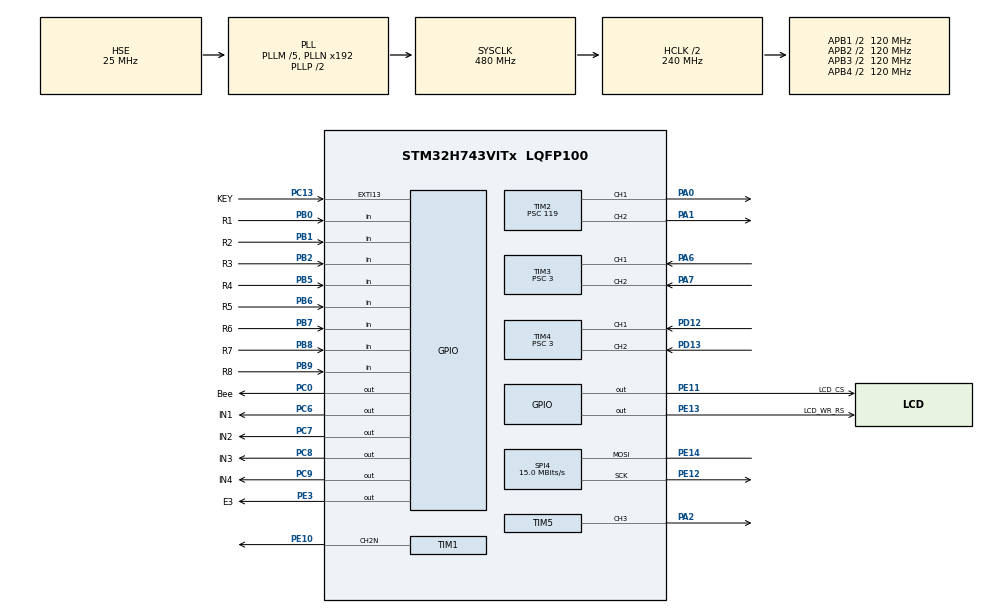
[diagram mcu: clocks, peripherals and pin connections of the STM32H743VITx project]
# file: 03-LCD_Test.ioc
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Mcu.Family=STM32H7
Mcu.Name=STM32H743VITx
Mcu.Package=LQFP100
NVIC.EXTI15_10_IRQn=true\:0\:0\:false\:false\:true\:true\:true
NVIC.PriorityGroup=NVIC_PRIORITYGROUP_4
NVIC.TIM6_DAC_IRQn=true\:1\:0\:true\:false\:true\:true\:true
NVIC.TIM7_IRQn=true\:2\:0\:true\:false\:true\:true\:true
PA0.Signal=S_TIM2_CH1
PA1.Signal=S_TIM2_CH2
PA13\ (JTMS/SWDIO).Mode=Serial_Wire
PA13\ (JTMS/SWDIO).Signal=DEBUG_JTMS-SWDIO
PA14\ (JTCK/SWCLK).Mode=Serial_Wire
PA14\ (JTCK/SWCLK).Signal=DEBUG_JTCK-SWCLK
PA2.Signal=S_TIM5_CH3
PA6.Signal=S_TIM3_CH1
PA7.Signal=S_TIM3_CH2
PB0.GPIO_Label=R1
PB0.Signal=GPIO_Input
PB1.GPIO_Label=R2
PB1.Signal=GPIO_Input
PB2.GPIO_Label=R3
PB2.Signal=GPIO_Input
PB5.GPIO_Label=R4
PB5.Signal=GPIO_Input
PB6.GPIO_Label=R5
PB6.Signal=GPIO_Input
PB7.GPIO_Label=R6
PB7.Signal=GPIO_Input
PB8.GPIO_Label=R7
PB8.Signal=GPIO_Input
PB9.GPIO_Label=R8
PB9.Signal=GPIO_Input
PC0.GPIO_Label=Bee
PC0.PinState=GPIO_PIN_SET
PC0.Signal=GPIO_Output
PC13.GPIO_Label=KEY
PC13.GPIO_ModeDefaultEXTI=GPIO_MODE_IT_FALLING
PC13.GPIO_PuPd=GPIO_NOPULL
PC13.Signal=GPXTI13
PC14-OSC32_IN\ (OSC32_IN).Mode=LSE-External-Oscillator
PC14-OSC32_IN\ (OSC32_IN).Signal=RCC_OSC32_IN
PC15-OSC32_OUT\ (OSC32_OUT).Mode=LSE-External-Oscillator
PC15-OSC32_OUT\ (OSC32_OUT).Signal=RCC_OSC32_OUT
PC6.GPIO_Label=IN1
PC6.Signal=GPIO_Output
PC7.GPIO_Label=IN2
PC7.Signal=GPIO_Output
PC8.GPIO_Label=IN3
PC8.Signal=GPIO_Output
PC9.GPIO_Label=IN4
PC9.Signal=GPIO_Output
PD12.Signal=S_TIM4_CH1
PD13.Signal=S_TIM4_CH2
PE10.Mode=PWM Generation2 CH2N
PE10.Signal=TIM1_CH2N
PE11.GPIO_Label=LCD_CS
PE11.GPIO_Speed=GPIO_SPEED_FREQ_VERY_HIGH
PE11.PinState=GPIO_PIN_SET
PE11.Signal=GPIO_Output
PE12.GPIO_Speed=GPIO_SPEED_FREQ_HIGH
PE12.Mode=Simplex_Bidirectional_Master
PE12.Signal=SPI4_SCK
PE13.GPIO_Label=LCD_WR_RS
PE13.GPIO_Speed=GPIO_SPEED_FREQ_VERY_HIGH
PE13.PinState=GPIO_PIN_SET
PE13.Signal=GPIO_Output
PE14.GPIO_Speed=GPIO_SPEED_FREQ_HIGH
PE14.Mode=Simplex_Bidirectional_Master
PE14.Signal=SPI4_MOSI
PE3.GPIO_Label=E3
PE3.Signal=GPIO_Output
PH0-OSC_IN\ (PH0).Mode=HSE-External-Oscillator
PH0-OSC_IN\ (PH0).Signal=RCC_OSC_IN
PH1-OSC_OUT\ (PH1).Mode=HSE-External-Oscillator
PH1-OSC_OUT\ (PH1).Signal=RCC_OSC_OUT
ProjectManager.HeapSize=0x200
ProjectManager.StackSize=0x400
ProjectManager.TargetToolchain=MDK-ARM V5
RCC.ADCFreq_Value=83333333.33333333
RCC.APB1Freq_Value=120000000
RCC.APB2Freq_Value=120000000
RCC.APB3Freq_Value=120000000
RCC.APB4Freq_Value=120000000
RCC.CortexFreq_Value=480000000
RCC.D1PPRE=RCC_APB3_DIV2
RCC.D2PPRE1=RCC_APB1_DIV2
RCC.D2PPRE2=RCC_APB2_DIV2
RCC.D3PPRE=RCC_APB4_DIV2
RCC.DIVM1=5
RCC.DIVM2=6
RCC.DIVN1=192
RCC.DIVN2=40
RCC.DIVQ2=1
RCC.HCLKFreq_Value=240000000
RCC.HPRE=RCC_HCLK_DIV2
RCC.HSE_VALUE=25000000
RCC.PLLFRACN=0
RCC.PLLSourceVirtual=RCC_PLLSOURCE_HSE
RCC.RTCClockSelection=RCC_RTCCLKSOURCE_LSE
RCC.SYSCLKFreq_VALUE=480000000
RCC.SYSCLKSource=RCC_SYSCLKSOURCE_PLLCLK
RCC.USBFreq_Value=480000000
RTC.Hours=12
RTC.Month=RTC_MONTH_JUNE
RTC.Year=20
SH.S_TIM2_CH1.0=TIM2_CH1,PWM Generation1 CH1
SH.S_TIM2_CH2.0=TIM2_CH2,PWM Generation2 CH2
SH.S_TIM3_CH1.0=TIM3_CH1,Encoder_Interface
SH.S_TIM3_CH2.0=TIM3_CH2,Encoder_Interface
SH.S_TIM4_CH1.0=TIM4_CH1,Encoder_Interface
SH.S_TIM4_CH2.0=TIM4_CH2,Encoder_Interface
SH.S_TIM5_CH3.0=TIM5_CH3,PWM Generation3 CH3
SPI4.BaudRatePrescaler=SPI_BAUDRATEPRESCALER_8
SPI4.CalculateBaudRate=15.0 MBits/s
SPI4.DataSize=SPI_DATASIZE_8BIT
SPI4.Direction=SPI_DIRECTION_1LINE
SPI4.Mode=SPI_MODE_MASTER
SPI4.VirtualType=VM_MASTER
TIM1.Channel-PWM\ Generation2\ CH2N=TIM_CHANNEL_2
TIM1.OCNPolarity_2=TIM_OCNPOLARITY_LOW
TIM1.Period=1000-1
TIM1.Prescaler=12-1
TIM2.AutoReloadPreload=TIM_AUTORELOAD_PRELOAD_ENABLE
TIM2.Channel-PWM\ Generation1\ CH1=TIM_CHANNEL_1
TIM2.Channel-PWM\ Generation2\ CH2=TIM_CHANNEL_2
TIM2.Period=1499
TIM2.Prescaler=119
TIM3.AutoReloadPreload=TIM_AUTORELOAD_PRELOAD_ENABLE
TIM3.EncoderMode=TIM_ENCODERMODE_TI12
TIM3.Period=65534
TIM3.Prescaler=3
TIM4.AutoReloadPreload=TIM_AUTORELOAD_PRELOAD_ENABLE
TIM4.EncoderMode=TIM_ENCODERMODE_TI12
TIM4.Period=65534
TIM4.Prescaler=3
TIM5.AutoReloadPreload=TIM_AUTORELOAD_PRELOAD_ENABLE
TIM5.Channel-PWM\ Generation3\ CH3=TIM_CHANNEL_3
TIM5.Period=249
TIM5.Prescaler=4799
TIM6.Period=99
TIM6.Prescaler=4799
TIM7.AutoReloadPreload=TIM_AUTORELOAD_PRELOAD_ENABLE
TIM7.Period=999
TIM7.Prescaler=4799
VP_RTC_VS_RTC_Activate.Mode=RTC_Enabled
VP_RTC_VS_RTC_Calendar.Mode=RTC_Calendar
VP_TIM2_VS_ClockSourceINT.Mode=Internal
VP_TIM5_VS_ClockSourceINT.Mode=Internal
VP_TIM6_VS_ClockSourceINT.Mode=Enable_Timer
VP_TIM7_VS_ClockSourceINT.Mode=Enable_Timer
board=custom

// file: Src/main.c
/* USER CODE BEGIN Header */
/**
  ******************************************************************************
  * @file           : main.c
  * @brief          : Main program body
  ******************************************************************************
  * @attention
  *
  * <h2><center>&copy; Copyright (c) 2020 STMicroelectronics.
  * All rights reserved.</center></h2>
  *
  * This software component is licensed by ST under BSD 3-Clause license,
  * the "License"; You may not use this file except in compliance with the
  * License. You may obtain a copy of the License at:
  *                        opensource.org/licenses/BSD-3-Clause
  *
  ******************************************************************************
  */
/* USER CODE END Header */
#include "main.h"
#include "rtc.h"
#include "spi.h"
#include "tim.h"
#include "gpio.h"

/* USER CODE BEGIN Includes */
#include "lcd.h"
#include "pid.h"
#include "control.h"
#include "stdlib.h"
#include "stdio.h"
#include "string.h"
/* USER CODE END Includes */

/* USER CODE BEGIN PTD */
static uint8_t Motor = 0;
static uint16_t Xunlu = 1;
uint8_t Mode_Set = 0 ;
static int Res_stick = 0;
static int time_slp = 100;
static uint8_t Mode = 0;
static uint8_t text[20];
static uint8_t Douck_V = 70 ; //舵机角度
static uint8_t Black_bock = 50;
static float Time_Sitck = 0;	//变换时间
static float Time_Sum = 0;		//累积时间
static uint8_t Time_Set = 10;	//时间设置
	static int Res = 0;

	static int pwm_ab = 0;
//	uint8_t Right_Flag = 0;
	static uint8_t Stop_Flag = 0;
	static uint8_t Star_Flag = 0;
	static uint8_t Black_Flag = 0;	//黑白计数
	static uint8_t Right_Flag = 0;	//黑白计数
extern int Pwm_add1 ,Pwm1 ,Pwm_last1 ;                    // PWM增量，PWM输出占空比
extern int Pwm_add2 ,Pwm2 ,Pwm_last2 ;                    // PWM增量，PWM输出占空比
/* USER CODE END PTD */

/* USER CODE BEGIN PM */

static void Motor_Speed(int SpeedTarget1,int SpeedTarget2){
	  /* 调速 */
		if( Motor == 1 ){

				HAL_GPIO_TogglePin(E3_GPIO_Port,E3_Pin);

				//*********电机1**********//
				MotorOutput1 = SpeedInnerControl1(MotorSpeed1,SpeedTarget1);//PID控制器，取回占空比

				if(MotorOutput1 < 0){		//减速
//					HAL_GPIO_WritePin(IN3_GPIO_Port,IN3_Pin,GPIO_PIN_SET);	//电机1反转
//					HAL_GPIO_WritePin(IN4_GPIO_Port,IN4_Pin,GPIO_PIN_RESET);
//					__HAL_TIM_SetCompare(&htim2,TIM_CHANNEL_2,300);

//					HAL_GPIO_WritePin(IN3_GPIO_Port,IN3_Pin,GPIO_PIN_RESET);	//电机1正转
//					HAL_GPIO_WritePin(IN4_GPIO_Port,IN4_Pin,GPIO_PIN_SET);
					__HAL_TIM_SetCompare(&htim2,TIM_CHANNEL_2,0);
				}
				else{						//加速

//					HAL_GPIO_WritePin(IN3_GPIO_Port,IN3_Pin,GPIO_PIN_RESET);	//电机1正转
//					HAL_GPIO_WritePin(IN4_GPIO_Port,IN4_Pin,GPIO_PIN_SET);
					__HAL_TIM_SetCompare(&htim2,TIM_CHANNEL_1,MotorOutput1);

				}
				//*********电机2**********//
				MotorOutput2 = SpeedInnerControl2(MotorSpeed2,SpeedTarget2);//PID控制器，取回占空比

				if(MotorOutput2 < 0){		//减速
//					HAL_GPIO_WritePin(IN1_GPIO_Port,IN1_Pin,GPIO_PIN_SET);	//电机2反转
//					HAL_GPIO_WritePin(IN2_GPIO_Port,IN2_Pin,GPIO_PIN_RESET);
//					__HAL_TIM_SetCompare(&htim2,TIM_CHANNEL_2,300);
//
//					HAL_GPIO_WritePin(IN1_GPIO_Port,IN1_Pin,GPIO_PIN_RESET);	//电机2正转
//					HAL_GPIO_WritePin(IN2_GPIO_Port,IN2_Pin,GPIO_PIN_SET);
					__HAL_TIM_SetCompare(&htim2,TIM_CHANNEL_2,0);
				}
				else{						//加速
//					HAL_GPIO_WritePin(IN1_GPIO_Port,IN1_Pin,GPIO_PIN_RESET);	//电机2正转
//					HAL_GPIO_WritePin(IN2_GPIO_Port,IN2_Pin,GPIO_PIN_SET);
					__HAL_TIM_SetCompare(&htim2,TIM_CHANNEL_2,MotorOutput2);

				}

	//			sprintf((char *)&aTxBuffer,"Mpd2=%d,Mpd1=%d,",MotorSpeed2,MotorSpeed1);
	//			HAL_UART_Transmit(&huart2, (uint8_t *)aTxBuffer, sizeof(aTxBuffer),10);

				Motor = 0;
			}
}
static void Xunlu_Bk(void){
	/**************** 巡线控制 ******************/
			static uint8_t Res_num = 0;
		  /* 巡线-位置检测 */
			if(	 Xunlu == 1 && Stop_Flag == 0){
				Res = 0;
				Res_num = 0;
//				SpeedTarget1 = 300;
//				SpeedTarget2 = 300;
//				if(Black_Flag == 0){
//					while(HAL_GPIO_ReadPin(R5_GPIO_Port,R5_Pin)==RESET  && HAL_GPIO_ReadPin(R3_GPIO_Port,R3_Pin)==RESET &&
//				    HAL_GPIO_ReadPin(R4_GPIO_Port,R4_Pin)==RESET && HAL_GPIO_ReadPin(R6_GPIO_Port,R6_Pin)==RESET    &&
//				    HAL_GPIO_ReadPin(R7_GPIO_Port,R7_Pin)==RESET && HAL_GPIO_ReadPin(R2_GPIO_Port,R2_Pin)==RESET	&&
//					HAL_GPIO_ReadPin(R1_GPIO_Port,R1_Pin)==RESET && HAL_GPIO_ReadPin(R8_GPIO_Port,R8_Pin)==RESET
//					);//等待非全白 进行调整
					if(HAL_GPIO_ReadPin(R5_GPIO_Port,R5_Pin)==SET  || HAL_GPIO_ReadPin(R3_GPIO_Port,R3_Pin)==SET ||
				    HAL_GPIO_ReadPin(R4_GPIO_Port,R4_Pin)==SET || HAL_GPIO_ReadPin(R6_GPIO_Port,R6_Pin)==SET    ||
				    HAL_GPIO_ReadPin(R7_GPIO_Port,R7_Pin)==SET || HAL_GPIO_ReadPin(R2_GPIO_Port,R2_Pin)==SET	||
					HAL_GPIO_ReadPin(R1_GPIO_Port,R1_Pin)==SET || HAL_GPIO_ReadPin(R8_GPIO_Port,R8_Pin)==SET
					){	//如果有一个黑 进行调整
						HAL_GPIO_TogglePin(E3_GPIO_Port,E3_Pin);
						if(HAL_GPIO_ReadPin(R1_GPIO_Port,R1_Pin)==SET)	{Douck_V =95;Res_num+=1;}		//右偏限位
						if(HAL_GPIO_ReadPin(R2_GPIO_Port,R2_Pin)==SET)	{Douck_V =90;Res_num+=1;}
						if(HAL_GPIO_ReadPin(R3_GPIO_Port,R3_Pin)==SET)	{Douck_V =85;Res_num+=1;}
						if(HAL_GPIO_ReadPin(R4_GPIO_Port,R4_Pin)==SET)	{Douck_V =80;Res_num+=1;}	//右偏
						if(HAL_GPIO_ReadPin(R5_GPIO_Port,R5_Pin)==SET)	{Douck_V =70;Res_num+=1;}	//巡线中位
						if(HAL_GPIO_ReadPin(R6_GPIO_Port,R6_Pin)==SET)	{Douck_V =60;Res_num+=1;}	//左偏
						if(HAL_GPIO_ReadPin(R7_GPIO_Port,R7_Pin)==SET)	{Douck_V =57;Res_num+=1;}
						if(HAL_GPIO_ReadPin(R8_GPIO_Port,R8_Pin)==SET)	{Douck_V =55;Res_num+=1;}		//左偏限
						Xunlu = 0;
						Black_Flag = 1;
						/* 时间计算 */
						Black_bock --;
						Time_Sitck = Res_stick;
						Time_Sum += Res_stick;
						Res_stick = 0;

	//					if(Right_Flag ==0){

						/* 巡线-舵机位置控制 */
							if(Res_num ==1){
								if(Black_bock <30){SpeedTarget1 = 90;SpeedTarget2 = 90;}
								if(Douck_V >80){Right_Flag =1;}
								else if(Right_Flag ==1){					//转向记录
									if(Douck_V <=90)	{Right_Flag = 2;}

								}
								if(Right_Flag ==2){							//完成转向
									SpeedTarget1 = 120;SpeedTarget2 = 120;
									Pwm_add1 = 200,Pwm1 =200,Pwm_last1 = 200;                    // PWM增量，PWM输出占空比
								    Pwm_add2 = 200,Pwm2 =200,Pwm_last2 = 200;                    // PWM增量，PWM输出占空比
									__HAL_TIM_SetCompare(&htim5,TIM_CHANNEL_3,70);
									Right_Flag++;
								}
								if(Right_Flag ==3){
										/* 时间控制 */
										if(Time_Sitck<(Time_Set/50) )
										{
											SpeedTarget1 = 90;SpeedTarget2 = 90;
										}
										else if( Time_Sitck > (Time_Set/50) )
										{
											SpeedTarget1 = 90;SpeedTarget2 = 90;
										}
								}
								else{
										if(Time_Sitck<(Time_Set/50) )
										{
											SpeedTarget1 = 90;SpeedTarget2 = 90;
										}
										else if( Time_Sitck > (Time_Set/50) )
										{
											SpeedTarget1 = 120;SpeedTarget2 = 120;
										}
								}
								//__HAL_TIM_SetCompare(&htim5,TIM_CHANNEL_3,Douck_V);

							}
							if(Res_num >=2){
								Douck_V = 70;
								__HAL_TIM_SetCompare(&htim5,TIM_CHANNEL_3,70);
								HAL_GPIO_WritePin(IN1_GPIO_Port,IN1_Pin,GPIO_PIN_SET);	//行车制动
								HAL_GPIO_WritePin(IN2_GPIO_Port,IN2_Pin,GPIO_PIN_RESET);
								HAL_GPIO_WritePin(IN3_GPIO_Port,IN3_Pin,GPIO_PIN_SET);
								HAL_GPIO_WritePin(IN4_GPIO_Port,IN4_Pin,GPIO_PIN_RESET);
								__HAL_TIM_SetCompare(&htim2,TIM_CHANNEL_1,800);
								__HAL_TIM_SetCompare(&htim2,TIM_CHANNEL_2,800);
								HAL_Delay(100);
								__HAL_TIM_SetCompare(&htim2,TIM_CHANNEL_1,0);
								__HAL_TIM_SetCompare(&htim2,TIM_CHANNEL_2,0);
								Stop_Flag = 1;
								Star_Flag = 0;
								HAL_TIM_PWM_Stop(&htim2,TIM_CHANNEL_1);
								HAL_TIM_PWM_Stop(&htim2,TIM_CHANNEL_2);
								HAL_TIM_PWM_Stop(&htim5,TIM_CHANNEL_3);
								HAL_TIM_Base_Stop_IT(&htim7);                // 关闭定时器中断(100ms)
								HAL_TIM_Base_Stop_IT(&htim6); 				// 关闭定时器中断(10ms)

							}
//					}//等待非全白 进行调整

		//		}

					//}

				}
//				else if(Black_Flag == 1){
					if(HAL_GPIO_ReadPin(R5_GPIO_Port,R5_Pin)==RESET  && HAL_GPIO_ReadPin(R3_GPIO_Port,R3_Pin)==RESET &&
				    HAL_GPIO_ReadPin(R4_GPIO_Port,R4_Pin)==RESET && HAL_GPIO_ReadPin(R6_GPIO_Port,R6_Pin)==RESET    &&
				    HAL_GPIO_ReadPin(R7_GPIO_Port,R7_Pin)==RESET && HAL_GPIO_ReadPin(R2_GPIO_Port,R2_Pin)==RESET	&&
					HAL_GPIO_ReadPin(R1_GPIO_Port,R1_Pin)==RESET && HAL_GPIO_ReadPin(R8_GPIO_Port,R8_Pin)==RESET
					){
						Black_Flag =0;
					}//等待非全白 进行调整	}
					Xunlu = 0;
//				}
//				else if (Black_Flag == 1){
//					while(HAL_GPIO_ReadPin(R5_GPIO_Port,R5_Pin)==SET  || HAL_GPIO_ReadPin(R3_GPIO_Port,R3_Pin)==SET ||
//				    HAL_GPIO_ReadPin(R4_GPIO_Port,R4_Pin)==SET || HAL_GPIO_ReadPin(R6_GPIO_Port,R6_Pin)==SET    ||
//				    HAL_GPIO_ReadPin(R7_GPIO_Port,R7_Pin)==SET || HAL_GPIO_ReadPin(R2_GPIO_Port,R2_Pin)==SET	||
//					HAL_GPIO_ReadPin(R1_GPIO_Port,R1_Pin)==SET || HAL_GPIO_ReadPin(R8_GPIO_Port,R8_Pin)==SET
//					);//等待全白 进行调整
//					Black_Flag =0;
//				}

			}
}
/* USER CODE END PM */

void SystemClock_Config(void);

/* USER CODE BEGIN 0 */
static void MPU_Config(void)
{
  MPU_Region_InitTypeDef MPU_InitStruct = {0};

  /* Disables the MPU */
  HAL_MPU_Disable();

	/* Configure the MPU attributes for the QSPI 256MB without instruction access */
  MPU_InitStruct.Enable           = MPU_REGION_ENABLE;
  MPU_InitStruct.Number           = MPU_REGION_NUMBER0;
  MPU_InitStruct.BaseAddress      = QSPI_BASE;
  MPU_InitStruct.Size             = MPU_REGION_SIZE_256MB;
  MPU_InitStruct.AccessPermission = MPU_REGION_NO_ACCESS;
  MPU_InitStruct.IsBufferable     = MPU_ACCESS_NOT_BUFFERABLE;
  MPU_InitStruct.IsCacheable      = MPU_ACCESS_NOT_CACHEABLE;
  MPU_InitStruct.IsShareable      = MPU_ACCESS_NOT_SHAREABLE;
  MPU_InitStruct.DisableExec      = MPU_INSTRUCTION_ACCESS_DISABLE;
  MPU_InitStruct.TypeExtField     = MPU_TEX_LEVEL1;
  MPU_InitStruct.SubRegionDisable = 0x00;
  HAL_MPU_ConfigRegion(&MPU_InitStruct);

  /* Configure the MPU attributes for the QSPI 8MB (QSPI Flash Size) to Cacheable WT */
  MPU_InitStruct.Enable           = MPU_REGION_ENABLE;
  MPU_InitStruct.Number           = MPU_REGION_NUMBER1;
  MPU_InitStruct.BaseAddress      = QSPI_BASE;
  MPU_InitStruct.Size             = MPU_REGION_SIZE_8MB;
  MPU_InitStruct.AccessPermission = MPU_REGION_PRIV_RO;
  MPU_InitStruct.IsBufferable     = MPU_ACCESS_BUFFERABLE;
  MPU_InitStruct.IsCacheable      = MPU_ACCESS_CACHEABLE;
  MPU_InitStruct.IsShareable      = MPU_ACCESS_NOT_SHAREABLE;
  MPU_InitStruct.DisableExec      = MPU_INSTRUCTION_ACCESS_ENABLE;
  MPU_InitStruct.TypeExtField     = MPU_TEX_LEVEL1;
  MPU_InitStruct.SubRegionDisable = 0x00;
  HAL_MPU_ConfigRegion(&MPU_InitStruct);

  /* Enables the MPU */
  HAL_MPU_Enable(MPU_PRIVILEGED_DEFAULT);
}

static void CPU_CACHE_Enable(void)
{
  /* Enable I-Cache */
  SCB_EnableICache();

  /* Enable D-Cache */
  SCB_EnableDCache();
}

static void LED_Blink(uint32_t Hdelay,uint32_t Ldelay)
{
	HAL_GPIO_WritePin(E3_GPIO_Port,E3_Pin,GPIO_PIN_SET);
	HAL_Delay(Hdelay - 1);
	HAL_GPIO_WritePin(E3_GPIO_Port,E3_Pin,GPIO_PIN_RESET);
	HAL_Delay(Ldelay-1);
}

/**
  * @brief  Get the current time and date.
  * @param
  * @retval None
  */
static void RTC_CalendarShow(RTC_DateTypeDef *sdatestructureget,RTC_TimeTypeDef *stimestructureget)
{
  /* 必须同时获取时间和日期 不然会导致下次RTC不能读取 */
  /* Both time and date must be obtained or RTC cannot be read next time */
  /* Get the RTC current Time */
  HAL_RTC_GetTime(&hrtc, stimestructureget, RTC_FORMAT_BIN);
  /* Get the RTC current Date */
  HAL_RTC_GetDate(&hrtc, sdatestructureget, RTC_FORMAT_BIN);
}

/* USER CODE END 0 */

int main(void)
{
  /* USER CODE BEGIN 1 */

  #ifdef W25Qxx
    SCB->VTOR = QSPI_BASE;
  #endif
  MPU_Config();
  CPU_CACHE_Enable();

	SpeedTarget1 = 180;	  // 全局变量，LM速度目标值
	SpeedTarget2 = 180;	  // 全局变量，RM速度目标值
	MotorOutput1 = 300;
	MotorOutput2 = 300;
  /* USER CODE END 1 */

  /* MCU Configuration--------------------------------------------------------*/

  /* Reset of all peripherals, Initializes the Flash interface and the Systick. */
  HAL_Init();

  /* Configure the system clock */
  SystemClock_Config();

  /* Initialize all configured peripherals */
  MX_GPIO_Init();
  MX_RTC_Init();
  MX_SPI4_Init();
  MX_TIM1_Init();
  MX_TIM3_Init();
  MX_TIM4_Init();
  MX_TIM2_Init();
  MX_TIM7_Init();
  MX_TIM5_Init();
  MX_TIM6_Init();
  /* USER CODE BEGIN 2 */
	LCD_Test();

//	__HAL_TIM_SetCompare(&htim2,TIM_CHANNEL_1,300-1);//调试用
//	__HAL_TIM_SetCompare(&htim2,TIM_CHANNEL_2,300-1);//调试用
	HAL_GPIO_WritePin(Bee_GPIO_Port,Bee_Pin,GPIO_PIN_SET);
	HAL_TIM_Encoder_Start(&htim3, TIM_CHANNEL_1); // 开启编码器A0
	HAL_TIM_Encoder_Start(&htim3, TIM_CHANNEL_2); // 开启编码器A1
	HAL_TIM_Encoder_Start(&htim4, TIM_CHANNEL_1); // 开启编码器B0
	HAL_TIM_Encoder_Start(&htim4, TIM_CHANNEL_2); // 开启编码器B1

  /* USER CODE END 2 */

  /* Infinite loop */
  /* USER CODE BEGIN WHILE */

	HAL_GPIO_WritePin(IN1_GPIO_Port,IN1_Pin,GPIO_PIN_RESET);	//电机方向
	HAL_GPIO_WritePin(IN2_GPIO_Port,IN2_Pin,GPIO_PIN_SET);
	HAL_GPIO_WritePin(IN3_GPIO_Port,IN3_Pin,GPIO_PIN_RESET);
	HAL_GPIO_WritePin(IN4_GPIO_Port,IN4_Pin,GPIO_PIN_SET);
//	HAL_Delay(500);
	Star_Flag = 1;
  while (1)
  {

	if(Star_Flag == 1){
		HAL_TIM_PWM_Start(&htim2,TIM_CHANNEL_1);
		HAL_TIM_PWM_Start(&htim2,TIM_CHANNEL_2);
		HAL_TIM_PWM_Start(&htim5,TIM_CHANNEL_3);
//		int i = 0;
//		while(1){
//			i= 50;
//			for(i=60;i<100;i+=10){
				__HAL_TIM_SetCompare(&htim5,TIM_CHANNEL_3,70);
//				HAL_Delay(1000);
//				sprintf((char *)&text,"Duoji:%d  ",i);
//				LCD_ShowString(4, 55, 160, 14, 14, text);
//			}
//
//		}
		sprintf((char *)&text,"Steeing");
		LCD_ShowString(4, 55, 160, 14, 14, text);
		HAL_Delay(5000);		//10秒的调试时间
		sprintf((char *)&text,"Open   ");
		LCD_ShowString(4, 55, 160, 14, 14, text);
		__HAL_TIM_SetCompare(&htim2,TIM_CHANNEL_1,300);
		__HAL_TIM_SetCompare(&htim2,TIM_CHANNEL_2,300);
		//HAL_Delay(10);  //10ms启动电机时间
		HAL_TIM_Base_Start_IT(&htim7);                // 使能定时器中断(100ms)
		HAL_TIM_Base_Start_IT(&htim6);                // 使能定时器中断(10ms)
		HAL_GPIO_WritePin(Bee_GPIO_Port,Bee_Pin,GPIO_PIN_RESET);
		HAL_Delay(100);
		HAL_GPIO_WritePin(Bee_GPIO_Port,Bee_Pin,GPIO_PIN_SET);

	}

	while(Star_Flag == 1){
		 /* 时间切换  */
//		if(HAL_GPIO_ReadPin(KEY_GPIO_Port,KEY_Pin)== RESET){
//			while(HAL_GPIO_ReadPin(KEY_GPIO_Port,KEY_Pin)== RESET);
//			if(Time_Set<=20){
//				Time_Set ++;
//			}
//			else{Time_Set = 10;}
//			sprintf((char *)&text,"Time:%d          ",Time_Set);
//			LCD_ShowString(4, 6, 160, 14, 14, text);
//			HAL_GPIO_TogglePin(E3_GPIO_Port,E3_Pin);
//		}
		SpeedTarget1 = 180;SpeedTarget2 = 180;
		  /* 模式切换 (角度) */
		if( Mode == 0){ }
				if(Motor ==0){
			 // 1.获取电机速度
			GetMotorPulse();
			Motor = 1;
			// 3.将占空比导入至电机控制函数
			Motor_Speed(SpeedTarget1,SpeedTarget2);
		}

		sprintf((char *)&text,"Time:%d T_Sum:%.1lf  ",Time_Set,Time_Sum/10);
		LCD_ShowString(4, 6, 160, 14, 14, text);
		HAL_Delay(5);
		sprintf((char *)&text,"POt1:%d,POt2:%d\r\n",MotorOutput1,MotorOutput2);
		LCD_ShowString(4, 22, 160, 14, 14, text);
		HAL_Delay(5);
		sprintf((char *)&text,"Mpd1:%d,Mpd2:%d       ",MotorSpeed1,MotorSpeed2);
		LCD_ShowString(4, 38, 160, 14, 14, text);
		HAL_Delay(5);
		while(Stop_Flag == 1){		//停止

		//LED_Blink(3,800);
		if(Stop_Flag == 1){
			HAL_TIM_PWM_Stop(&htim2,TIM_CHANNEL_1);
			HAL_TIM_PWM_Stop(&htim2,TIM_CHANNEL_2);
			HAL_TIM_PWM_Stop(&htim5,TIM_CHANNEL_3);
			HAL_TIM_Base_Stop_IT(&htim7);                // 关闭定时器中断(100ms)
			HAL_TIM_Base_Stop_IT(&htim6); 				// 关闭定时器中断(10ms)
			HAL_GPIO_WritePin(Bee_GPIO_Port,Bee_Pin,GPIO_PIN_RESET);
			HAL_Delay(2000);
			HAL_GPIO_WritePin(Bee_GPIO_Port,Bee_Pin,GPIO_PIN_SET);
			Star_Flag = 0;

			Stop_Flag = 0;
		}
	}
	}

//		LED_Blink(3,500);

    /* USER CODE END WHILE */

  }
}

void SystemClock_Config(void)
{
  RCC_OscInitTypeDef RCC_OscInitStruct = {0};
  RCC_ClkInitTypeDef RCC_ClkInitStruct = {0};
  RCC_PeriphCLKInitTypeDef PeriphClkInitStruct = {0};

  /** Supply configuration update enable
  */
  HAL_PWREx_ConfigSupply(PWR_LDO_SUPPLY);
  /** Configure the main internal regulator output voltage
  */
  __HAL_PWR_VOLTAGESCALING_CONFIG(PWR_REGULATOR_VOLTAGE_SCALE0);

  while(!__HAL_PWR_GET_FLAG(PWR_FLAG_VOSRDY)) {}
  /** Configure LSE Drive Capability
  */
  HAL_PWR_EnableBkUpAccess();
  __HAL_RCC_LSEDRIVE_CONFIG(RCC_LSEDRIVE_LOW);
  /** Initializes the RCC Oscillators according to the specified parameters
  * in the RCC_OscInitTypeDef structure.
  */
  RCC_OscInitStruct.OscillatorType = RCC_OSCILLATORTYPE_HSE|RCC_OSCILLATORTYPE_LSE;
  RCC_OscInitStruct.HSEState = RCC_HSE_ON;
  RCC_OscInitStruct.LSEState = RCC_LSE_ON;
  RCC_OscInitStruct.PLL.PLLState = RCC_PLL_ON;
  RCC_OscInitStruct.PLL.PLLSource = RCC_PLLSOURCE_HSE;
  RCC_OscInitStruct.PLL.PLLM = 5;
  RCC_OscInitStruct.PLL.PLLN = 192;
  RCC_OscInitStruct.PLL.PLLP = 2;
  RCC_OscInitStruct.PLL.PLLQ = 2;
  RCC_OscInitStruct.PLL.PLLR = 2;
  RCC_OscInitStruct.PLL.PLLRGE = RCC_PLL1VCIRANGE_2;
  RCC_OscInitStruct.PLL.PLLVCOSEL = RCC_PLL1VCOWIDE;
  RCC_OscInitStruct.PLL.PLLFRACN = 0;
  if (HAL_RCC_OscConfig(&RCC_OscInitStruct) != HAL_OK)
  {
    Error_Handler();
  }
  /** Initializes the CPU, AHB and APB buses clocks
  */
  RCC_ClkInitStruct.ClockType = RCC_CLOCKTYPE_HCLK|RCC_CLOCKTYPE_SYSCLK
                              |RCC_CLOCKTYPE_PCLK1|RCC_CLOCKTYPE_PCLK2
                              |RCC_CLOCKTYPE_D3PCLK1|RCC_CLOCKTYPE_D1PCLK1;
  RCC_ClkInitStruct.SYSCLKSource = RCC_SYSCLKSOURCE_PLLCLK;
  RCC_ClkInitStruct.SYSCLKDivider = RCC_SYSCLK_DIV1;
  RCC_ClkInitStruct.AHBCLKDivider = RCC_HCLK_DIV2;
  RCC_ClkInitStruct.APB3CLKDivider = RCC_APB3_DIV2;
  RCC_ClkInitStruct.APB1CLKDivider = RCC_APB1_DIV2;
  RCC_ClkInitStruct.APB2CLKDivider = RCC_APB2_DIV2;
  RCC_ClkInitStruct.APB4CLKDivider = RCC_APB4_DIV2;

  if (HAL_RCC_ClockConfig(&RCC_ClkInitStruct, FLASH_LATENCY_4) != HAL_OK)
  {
    Error_Handler();
  }
  PeriphClkInitStruct.PeriphClockSelection = RCC_PERIPHCLK_RTC|RCC_PERIPHCLK_SPI4;
  PeriphClkInitStruct.Spi45ClockSelection = RCC_SPI45CLKSOURCE_D2PCLK1;
  PeriphClkInitStruct.RTCClockSelection = RCC_RTCCLKSOURCE_LSE;
  if (HAL_RCCEx_PeriphCLKConfig(&PeriphClkInitStruct) != HAL_OK)
  {
    Error_Handler();
  }
}

/* USER CODE BEGIN 4 */
void HAL_TIM_PeriodElapsedCallback(TIM_HandleTypeDef *htim)
{
    static unsigned char i = 0;
	static unsigned char dj = 70;
    if (htim == (&htim7))
    {
			/* 舵机跟随目标值 */
			if(dj < Douck_V){
				if(( Douck_V - dj )<5){
					dj+=1;
				}
				else{dj+=5;
			}
				//dj = Douck_V;
			    __HAL_TIM_SetCompare(&htim5,TIM_CHANNEL_3,dj);
			}
			else if (dj > Douck_V){
				if(( dj - Douck_V )<5){
					dj-=1;
				}
				else{dj-=5;
				}

			    __HAL_TIM_SetCompare(&htim5,TIM_CHANNEL_3,dj);
			}
		Res_stick++;
		//if(i>2 && Xunlu >2 ){		  Xunlu = 1; }

		  //HAL_GPIO_TogglePin(GPIOD, GPIO_PIN_2);
   		  //Xunlu++;

			//if(Xunlu ==0) {Xunlu = 1;}

        }
    if (htim == (&htim6))
    {
		Xunlu =1;
		Xunlu_Bk();

    }
}
void EXTI15_10_IRQHandler(void)
{
  /* USER CODE BEGIN EXTI15_10_IRQn 0 */

  /* USER CODE END EXTI15_10_IRQn 0 */
  HAL_GPIO_EXTI_IRQHandler(GPIO_PIN_13);
  /* USER CODE BEGIN EXTI15_10_IRQn 1 */
	if(Time_Set<=20){
		Time_Set ++;
		}
	else{Time_Set = 10;}
	sprintf((char *)&text,"Time:%d T_Sum:%.1lf  ",Time_Set,Time_Sum/10);
	LCD_ShowString(4, 6, 160, 14, 14, text);

	HAL_GPIO_TogglePin(E3_GPIO_Port,E3_Pin);
  /* USER CODE END EXTI15_10_IRQn 1 */
}
/* USER CODE END 4 */

void Error_Handler(void)
{
  /* USER CODE BEGIN Error_Handler_Debug */
  /* User can add his own implementation to report the HAL error return state */
  LED_Blink(500,500);
  /* USER CODE END Error_Handler_Debug */
}

/************************ (C) COPYRIGHT STMicroelectronics *****END OF FILE****/
